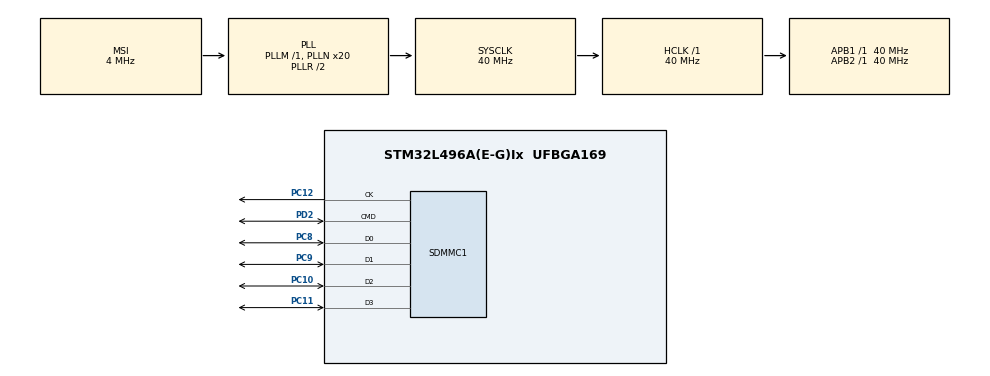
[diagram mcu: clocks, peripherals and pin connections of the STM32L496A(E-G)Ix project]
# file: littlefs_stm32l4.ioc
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Mcu.Family=STM32L4
Mcu.Name=STM32L496A(E-G)Ix
Mcu.Package=UFBGA169
NVIC.PriorityGroup=NVIC_PRIORITYGROUP_4
PC10.Mode=SD_4_bits_Wide_bus
PC10.Signal=SDMMC1_D2
PC11.Mode=SD_4_bits_Wide_bus
PC11.Signal=SDMMC1_D3
PC12.Mode=SD_4_bits_Wide_bus
PC12.Signal=SDMMC1_CK
PC8.Mode=SD_4_bits_Wide_bus
PC8.Signal=SDMMC1_D0
PC9.Mode=SD_4_bits_Wide_bus
PC9.Signal=SDMMC1_D1
PD2.Mode=SD_4_bits_Wide_bus
PD2.Signal=SDMMC1_CMD
ProjectManager.HeapSize=0x2000
ProjectManager.StackSize=0x2000
ProjectManager.TargetToolchain=EWARM V8.32
RCC.ADCFreq_Value=40000000
RCC.AHBFreq_Value=40000000
RCC.APB1Freq_Value=40000000
RCC.APB1TimFreq_Value=40000000
RCC.APB2Freq_Value=40000000
RCC.APB2TimFreq_Value=40000000
RCC.CortexFreq_Value=40000000
RCC.HCLKFreq_Value=40000000
RCC.HSE_VALUE=8000000
RCC.HSI48_VALUE=48000000
RCC.HSI_VALUE=16000000
RCC.LSE_VALUE=32768
RCC.LockedElements=AHBOutput
RCC.MSI_VALUE=4000000
RCC.PLLN=20
RCC.PLLSAI1N=20
RCC.SYSCLKFreq_VALUE=40000000
RCC.SYSCLKSource=RCC_SYSCLKSOURCE_PLLCLK
RCC.USBFreq_Value=40000000
RCC.VCOOutputFreq_Value=80000000
SDMMC1.ClockBypass=SDMMC_CLOCK_BYPASS_DISABLE
SDMMC1.ClockPowerSave=SDMMC_CLOCK_POWER_SAVE_DISABLE
SDMMC1.HardwareFlowControl=SDMMC_HARDWARE_FLOW_CONTROL_ENABLE
board=STM32L496G-DISCO

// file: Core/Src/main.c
/* USER CODE BEGIN Header */
/**
  ******************************************************************************
  * @file           : main.c
  * @brief          : Main program body
  ******************************************************************************
  * @attention
  *
  * Copyright (c) 2025 STMicroelectronics.
  * All rights reserved.
  *
  * This software is licensed under terms that can be found in the LICENSE file
  * in the root directory of this software component.
  * If no LICENSE file comes with this software, it is provided AS-IS.
  *
  ******************************************************************************
  */
/* USER CODE END Header */
#include "main.h"

/* USER CODE BEGIN Includes */
#include "lfs.h"
/* USER CODE END Includes */

SD_HandleTypeDef hsd1;

/* USER CODE BEGIN PV */
HAL_SD_CardInfoTypeDef pCardInfo;
/* USER CODE END PV */

void SystemClock_Config(void);
static void MX_GPIO_Init(void);
static void MX_SDMMC1_SD_Init(void);
/* USER CODE BEGIN PFP */
int user_provided_block_device_read(const struct lfs_config *c, lfs_block_t block, lfs_off_t off, void* buffer, lfs_size_t size);
int user_provided_block_device_prog(const struct lfs_config *c, lfs_block_t block, lfs_off_t off, const void* buffer, lfs_size_t size);
int user_provided_block_device_erase(const struct lfs_config *c, lfs_block_t block);
int user_provided_block_device_sync();
/* USER CODE END PFP */

int main(void)
{

  /* USER CODE BEGIN 1 */
// variables used by the filesystem
  lfs_t lfs;
  lfs_file_t file;
  /* USER CODE END 1 */

  /* MCU Configuration--------------------------------------------------------*/

  /* Reset of all peripherals, Initializes the Flash interface and the Systick. */
  HAL_Init();

  /* Configure the system clock */
  SystemClock_Config();

  /* Initialize all configured peripherals */
  MX_GPIO_Init();
  MX_SDMMC1_SD_Init();
  /* USER CODE BEGIN 2 */

  if (HAL_SD_GetCardInfo(&hsd1, &pCardInfo) != HAL_OK)
  {
    Error_Handler();
  }
  // configuration of the filesystem is provided by this struct
const struct lfs_config cfg = {
    // block device operations
    .read  = user_provided_block_device_read,
    .prog  = user_provided_block_device_prog,
    .erase = user_provided_block_device_erase,
    .sync  = user_provided_block_device_sync,

    // block device configuration
    .read_size = pCardInfo.BlockSize / 2,
    .prog_size = pCardInfo.BlockSize / 2,
    .block_size = pCardInfo.BlockSize / 2,
    .block_count = pCardInfo.BlockNbr,
    .cache_size = pCardInfo.BlockSize / 2,
    .lookahead_size = 32,
    .block_cycles = 500,
};

        // mount the filesystem
    int err = lfs_mount(&lfs, &cfg);

// reformat if we can't mount the filesystem
    // this should only happen on the first boot
    if (err) {
        lfs_format(&lfs, &cfg);
        lfs_mount(&lfs, &cfg);
    }

        // read current count
    uint32_t boot_count = 0;

    lfs_file_open(&lfs, &file, "boot_count", LFS_O_RDWR | LFS_O_CREAT);
    lfs_file_read(&lfs, &file, &boot_count, sizeof(boot_count));

    // update boot count
    boot_count += 1;
    lfs_file_rewind(&lfs, &file);
    lfs_file_write(&lfs, &file, &boot_count, sizeof(boot_count));

    // remember the storage is not updated until the file is closed successfully
    lfs_file_close(&lfs, &file);

    // release any resources we were using
    lfs_unmount(&lfs);

    // print the boot count
    printf("boot_count: %d\n", boot_count);

  /* USER CODE END 2 */

  /* Infinite loop */
  while (1)
  {

  }
}

void SystemClock_Config(void)
{
  RCC_OscInitTypeDef RCC_OscInitStruct = {0};
  RCC_ClkInitTypeDef RCC_ClkInitStruct = {0};

  /** Configure the main internal regulator output voltage
  */
  if (HAL_PWREx_ControlVoltageScaling(PWR_REGULATOR_VOLTAGE_SCALE1) != HAL_OK)
  {
    Error_Handler();
  }

  /** Initializes the RCC Oscillators according to the specified parameters
  * in the RCC_OscInitTypeDef structure.
  */
  RCC_OscInitStruct.OscillatorType = RCC_OSCILLATORTYPE_MSI;
  RCC_OscInitStruct.MSIState = RCC_MSI_ON;
  RCC_OscInitStruct.MSICalibrationValue = 0;
  RCC_OscInitStruct.MSIClockRange = RCC_MSIRANGE_6;
  RCC_OscInitStruct.PLL.PLLState = RCC_PLL_ON;
  RCC_OscInitStruct.PLL.PLLSource = RCC_PLLSOURCE_MSI;
  RCC_OscInitStruct.PLL.PLLM = 1;
  RCC_OscInitStruct.PLL.PLLN = 20;
  RCC_OscInitStruct.PLL.PLLP = RCC_PLLP_DIV2;
  RCC_OscInitStruct.PLL.PLLQ = RCC_PLLQ_DIV2;
  RCC_OscInitStruct.PLL.PLLR = RCC_PLLR_DIV2;
  if (HAL_RCC_OscConfig(&RCC_OscInitStruct) != HAL_OK)
  {
    Error_Handler();
  }

  /** Initializes the CPU, AHB and APB buses clocks
  */
  RCC_ClkInitStruct.ClockType = RCC_CLOCKTYPE_HCLK|RCC_CLOCKTYPE_SYSCLK
                              |RCC_CLOCKTYPE_PCLK1|RCC_CLOCKTYPE_PCLK2;
  RCC_ClkInitStruct.SYSCLKSource = RCC_SYSCLKSOURCE_PLLCLK;
  RCC_ClkInitStruct.AHBCLKDivider = RCC_SYSCLK_DIV1;
  RCC_ClkInitStruct.APB1CLKDivider = RCC_HCLK_DIV1;
  RCC_ClkInitStruct.APB2CLKDivider = RCC_HCLK_DIV1;

  if (HAL_RCC_ClockConfig(&RCC_ClkInitStruct, FLASH_LATENCY_2) != HAL_OK)
  {
    Error_Handler();
  }
}

static void MX_SDMMC1_SD_Init(void)
{

  hsd1.Instance = SDMMC1;
  hsd1.Init.ClockEdge = SDMMC_CLOCK_EDGE_RISING;
  hsd1.Init.ClockBypass = SDMMC_CLOCK_BYPASS_DISABLE;
  hsd1.Init.ClockPowerSave = SDMMC_CLOCK_POWER_SAVE_DISABLE;
  hsd1.Init.BusWide = SDMMC_BUS_WIDE_4B;
  hsd1.Init.HardwareFlowControl = SDMMC_HARDWARE_FLOW_CONTROL_ENABLE;
  hsd1.Init.ClockDiv = 0;
  if (HAL_SD_Init(&hsd1) != HAL_OK)
  {
    Error_Handler();
  }
  if (HAL_SD_ConfigWideBusOperation(&hsd1, SDMMC_BUS_WIDE_4B) != HAL_OK)
  {
    Error_Handler();
  }

}

static void MX_GPIO_Init(void)
{

  /* GPIO Ports Clock Enable */
  __HAL_RCC_GPIOD_CLK_ENABLE();
  __HAL_RCC_GPIOC_CLK_ENABLE();

}

/* USER CODE BEGIN 4 */
__WEAK int user_provided_block_device_read(const struct lfs_config *c, lfs_block_t block, lfs_off_t off, void* buffer, lfs_size_t size)
{
    assert(block < c->block_count);
    assert(off + size <= c->block_size);
    size = size / 512;
    int errorstate = HAL_SD_ReadBlocks(&hsd1, (uint8_t *) buffer, block + off, size, HAL_TIMEOUT);
    if ( errorstate != HAL_OK){
      return LFS_ERR_INVAL;
    }

    return LFS_ERR_OK;
}

__WEAK int user_provided_block_device_prog(const struct lfs_config *c, lfs_block_t block, lfs_off_t off, const void* buffer, lfs_size_t size)
{
    assert(block < c->block_count);
    size = size / 512;
    HAL_Delay(100);
    int errorstate = HAL_SD_WriteBlocks(&hsd1, (uint8_t *) buffer, block + off, size, HAL_TIMEOUT);
    if ( errorstate != HAL_OK){
      return LFS_ERR_INVAL;
    }

  return LFS_ERR_OK;
}

__WEAK int user_provided_block_device_erase(const struct lfs_config *c, lfs_block_t block)
{
  assert(block < c->block_count);
  int errorstate = HAL_SD_Erase(&hsd1, block, block+1);
  if ( errorstate != HAL_OK)
  {
    return LFS_ERR_INVAL;
  }
  return LFS_ERR_OK;
}

__WEAK int user_provided_block_device_sync()
{
  // to be implemented
  return 0;
}
/* USER CODE END 4 */

void Error_Handler(void)
{
  __disable_irq();
  while (1)
  {
  }
}
